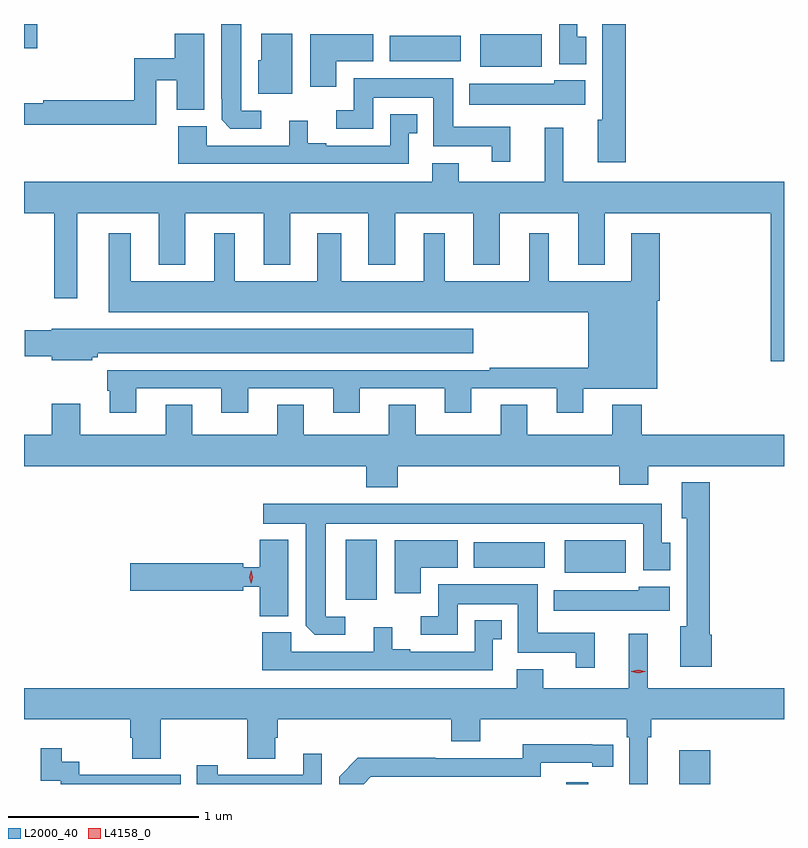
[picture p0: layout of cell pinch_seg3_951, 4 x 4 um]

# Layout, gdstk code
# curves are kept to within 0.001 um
import gdstk
lib = gdstk.Library(unit=1e-6, precision=1e-09)
def R(c, l, rs):  # rectangles x0, y0, x1, y1
    for r in rs: c.add(gdstk.rectangle(r[:2], r[2:], *l))
def P(c, l, *ps):  # polygons
    for p in ps: c.add(gdstk.Polygon(p, *l))
L2000_40 = (2000, 40)
L4158_0 = (4158, 0)

pinch_seg3_951 = lib.new_cell('pinch_seg3_951')
R(pinch_seg3_951, L2000_40, [(408.943,729.879,409.061,729.889), (409.538,729.879,409.702,730.057), (407.783,730.848,407.947,731.164), (408.935,730.991,409.258,731.161), (408.458,731.018,408.832,731.152), (408.491,733.655,408.814,733.825), (408.014,733.682,408.388,733.816), (406.09,733.751,406.159,733.879)])
P(pinch_seg3_951, L2000_40, [(407.338,733.422),(407.233,733.422),(407.233,733.879),(407.129,733.879),(407.129,733.486),(407.13,733.486),(407.13,733.375),(407.176,733.329),(407.338,733.329)],
  [(409.048,733.812),(409.003,733.812),(409.003,733.879),(408.906,733.879),(408.906,733.668),(409.048,733.668)],
  [(409.256,733.879),(409.133,733.879),(409.133,733.374),(409.109,733.374),(409.109,733.152),(409.256,733.152)],
  [(407.503,733.828),(407.339,733.828),(407.339,733.689),(407.324,733.689),(407.324,733.512),(407.503,733.512)],
  [(406.785,733.582),(406.895,733.582),(406.895,733.427),(407.038,733.427),(407.038,733.828),(406.883,733.828),(406.883,733.7),(406.669,733.7),(406.669,733.478),(406.192,733.478),(406.192,733.463),(406.09,733.463),(406.09,733.35),(406.785,733.35)],
  [(407.734,733.682),(407.929,733.682),(407.929,733.825),(407.597,733.825),(407.597,733.548),(407.734,733.548)],
  [(408.65,733.339),(408.349,733.339),(408.349,733.594),(407.825,733.594),(407.825,733.425),(407.733,733.425),(407.733,733.329),(407.929,733.329),(407.929,733.49),(408.245,733.49),(408.245,733.235),(408.551,733.235),(408.551,733.155),(408.65,733.155)],
  [(409.045,733.582),(408.882,733.582),(408.882,733.564),(408.434,733.564),(408.434,733.454),(409.045,733.454)],
  [(408.114,733.305),(408.16,733.305),(408.16,733.405),(408.018,733.405),(408.018,733.239),(407.68,733.239),(407.68,733.252),(407.584,733.252),(407.584,733.369),(407.486,733.369),(407.486,733.239),(407.052,733.239),(407.052,733.342),(406.901,733.342),(406.901,733.143),(408.114,733.143)],
  [(410.09,733.048),(408.929,733.048),(408.929,733.333),(408.83,733.333),(408.83,733.048),(408.379,733.048),(408.379,733.147),(408.239,733.147),(408.239,733.048),(406.09,733.048),(406.09,732.884),(406.248,732.884),(406.248,732.435),(406.369,732.435),(406.369,732.884),(406.799,732.884),(406.799,732.611),(406.939,732.611),(406.939,732.884),(407.351,732.884),(407.351,732.611),(407.491,732.611),(407.491,732.884),(407.903,732.884),(407.903,732.611),(408.043,732.611),(408.043,732.884),(408.455,732.884),(408.455,732.611),(408.595,732.611),(408.595,732.884),(409.007,732.884),(409.007,732.611),(409.147,732.611),(409.147,732.884),(410.021,732.884),(410.021,732.105),(410.09,732.105)],
  [(406.681,731.961),(407.129,731.961),(407.129,731.832),(407.269,731.832),(407.269,731.961),(407.717,731.961),(407.717,731.832),(407.857,731.832),(407.857,731.961),(408.305,731.961),(408.305,731.832),(408.445,731.832),(408.445,731.961),(408.893,731.961),(408.893,731.832),(409.033,731.832),(409.033,731.96),(409.423,731.96),(409.423,732.422),(409.436,732.422),(409.436,732.778),(409.286,732.778),(409.286,732.526),(408.853,732.526),(408.853,732.778),(408.749,732.778),(408.749,732.526),(408.304,732.526),(408.304,732.778),(408.194,732.778),(408.194,732.526),(407.761,732.526),(407.761,732.778),(407.633,732.778),(407.633,732.526),(407.2,732.526),(407.2,732.778),(407.09,732.778),(407.09,732.526),(406.651,732.526),(406.651,732.778),(406.535,732.778),(406.535,732.362),(409.061,732.362),(409.061,732.07),(408.541,732.07),(408.541,732.057),(406.529,732.057),(406.529,731.949),(406.541,731.949),(406.541,731.832),(406.681,731.832)],
  [(406.449,732.124),(406.479,732.124),(406.479,732.146),(408.454,732.146),(408.454,732.274),(406.236,732.274),(406.236,732.266),(406.095,732.266),(406.095,732.131),(406.236,732.131),(406.236,732.11),(406.449,732.11)],
  [(408.056,731.552),(409.223,731.552),(409.223,731.453),(409.375,731.453),(409.375,731.552),(410.09,731.552),(410.09,731.716),(409.34,731.716),(409.34,731.875),(409.187,731.875),(409.187,731.716),(408.739,731.716),(408.739,731.876),(408.599,731.876),(408.599,731.716),(408.151,731.716),(408.151,731.876),(408.011,731.876),(408.011,731.716),(407.563,731.716),(407.563,731.876),(407.423,731.876),(407.423,731.716),(406.975,731.716),(406.975,731.876),(406.835,731.876),(406.835,731.716),(406.387,731.716),(406.387,731.881),(406.235,731.881),(406.235,731.716),(406.09,731.716),(406.09,731.552),(407.891,731.552),(407.891,731.441),(408.056,731.441)],
  [(409.71,730.665),(409.7,730.665),(409.7,731.467),(409.553,731.467),(409.553,731.277),(409.577,731.277),(409.577,730.71),(409.544,730.71),(409.544,730.496),(409.71,730.496)],
  [(407.782,730.758),(407.677,730.758),(407.677,731.249),(409.35,731.249),(409.35,731.004),(409.492,731.004),(409.492,731.148),(409.447,731.148),(409.447,731.353),(407.349,731.353),(407.349,731.249),(407.573,731.249),(407.574,730.711),(407.62,730.665),(407.782,730.665)],
  [(407.482,731.164),(407.332,731.164),(407.332,731.019),(407.243,731.019),(407.243,731.042),(406.65,731.042),(406.65,730.895),(407.243,730.895),(407.243,730.918),(407.332,730.918),(407.332,730.763),(407.482,730.763)],
  [(408.178,731.018),(408.373,731.018),(408.373,731.161),(408.041,731.161),(408.041,730.884),(408.178,730.884)],
  [(409.094,730.675),(408.793,730.675),(408.793,730.93),(408.269,730.93),(408.269,730.761),(408.177,730.761),(408.177,730.665),(408.373,730.665),(408.373,730.826),(408.689,730.826),(408.689,730.571),(408.995,730.571),(408.995,730.491),(409.094,730.491)],
  [(409.489,730.918),(409.326,730.918),(409.326,730.9),(408.878,730.9),(408.878,730.79),(409.489,730.79)],
  [(408.558,730.641),(408.604,730.641),(408.604,730.741),(408.462,730.741),(408.462,730.575),(408.124,730.575),(408.124,730.588),(408.028,730.588),(408.028,730.705),(407.93,730.705),(407.93,730.575),(407.496,730.575),(407.496,730.678),(407.345,730.678),(407.345,730.479),(408.558,730.479)],
  [(409.372,730.124),(409.391,730.124),(409.391,730.22),(410.09,730.22),(410.09,730.384),(409.372,730.384),(409.372,730.669),(409.274,730.669),(409.274,730.384),(408.823,730.384),(408.823,730.483),(408.683,730.483),(408.683,730.384),(406.09,730.384),(406.09,730.22),(406.649,730.22),(406.649,730.122),(406.661,730.122),(406.661,730.012),(406.809,730.012),(406.809,730.22),(407.266,730.22),(407.266,730.012),(407.413,730.012),(407.413,730.122),(407.426,730.122),(407.426,730.22),(408.338,730.22),(408.338,730.103),(408.49,730.103),(408.49,730.22),(409.262,730.22),(409.262,730.124),(409.275,730.124),(409.275,729.879),(409.372,729.879)],
  [(407.916,729.918),(408.81,729.918),(408.81,729.99),(409.082,729.99),(409.082,729.97),(409.19,729.97),(409.19,730.086),(408.714,730.087),(408.714,730.014),(408.254,730.014),(408.254,730.016),(407.846,730.016),(407.748,729.918),(407.748,729.879),(407.877,729.879)],
  [(406.914,729.927),(406.38,729.927),(406.38,729.996),(406.288,729.996),(406.288,730.066),(406.179,730.066),(406.179,729.897),(406.284,729.897),(406.284,729.879),(406.914,729.879)],
  [(407.658,730.039),(407.561,730.039),(407.561,729.927),(407.11,729.927),(407.11,729.979),(406.999,729.979),(406.999,729.879),(407.658,729.879)])
P(pinch_seg3_951, L4158_0, [(409.323,730.461),(409.287,730.471),(409.287,730.471),(409.287,730.472),(409.323,730.481),(409.359,730.472),(409.359,730.471),(409.359,730.471)],
  [(407.285,730.932),(407.285,730.932),(407.275,730.968),(407.285,731.004),(407.285,731.004),(407.286,731.004),(407.295,730.968),(407.286,730.932)])

lib.write_gds('pinch_seg3_951.gds')
